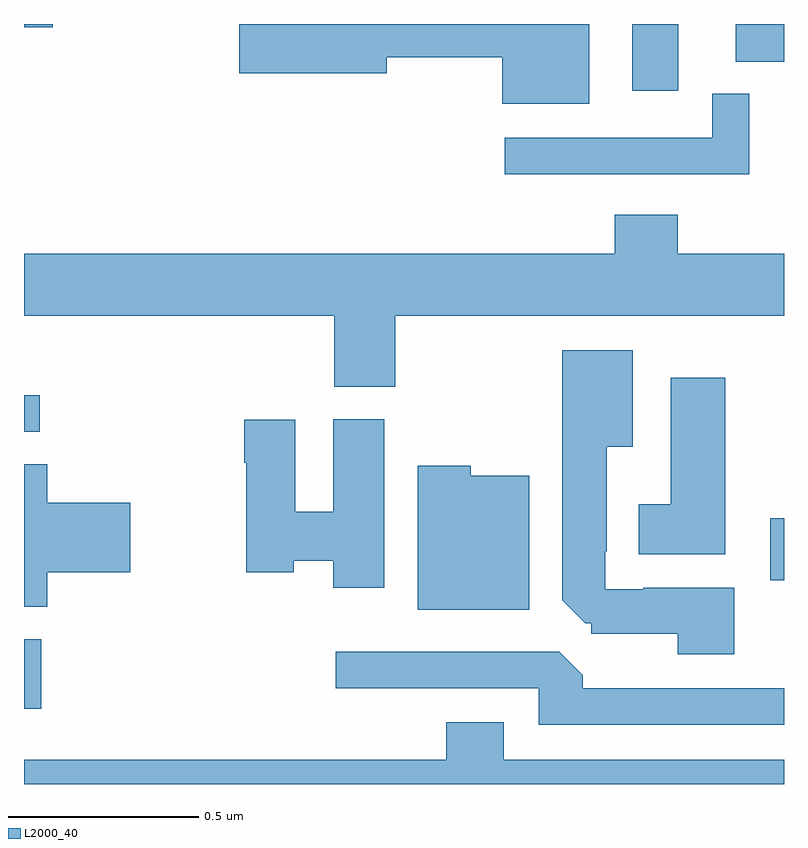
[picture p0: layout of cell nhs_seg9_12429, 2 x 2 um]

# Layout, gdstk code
import gdstk
lib = gdstk.Library(unit=1e-6, precision=1e-09)
def R(c, l, rs):  # rectangles x0, y0, x1, y1
    for r in rs: c.add(gdstk.rectangle(r[:2], r[2:], *l))
def P(c, l, *ps):  # polygons
    for p in ps: c.add(gdstk.Polygon(p, *l))
L2000_40 = (2000, 40)

nhs_seg9_12429 = lib.new_cell('nhs_seg9_12429')
R(nhs_seg9_12429, L2000_40, [(268,1216.698,268.046,1216.881), (269.964,1217.036,270,1217.199), (268,1217.427,268.042,1217.523), (269.6,1218.324,269.722,1218.5), (269.873,1218.401,270,1218.5), (268,1218.491,268.075,1218.5)])
P(nhs_seg9_12429, L2000_40, [(269.488,1218.5),(268.566,1218.5),(268.566,1218.37),(268.954,1218.37),(268.954,1218.412),(269.258,1218.412),(269.258,1218.29),(269.488,1218.29)],
  [(269.908,1218.316),(269.811,1218.316),(269.811,1218.201),(269.265,1218.201),(269.265,1218.105),(269.908,1218.105)],
  [(269.555,1217.998),(269.555,1217.896),(268,1217.896),(268,1217.732),(268.817,1217.732),(268.817,1217.545),(268.977,1217.545),(268.977,1217.732),(270,1217.732),(270,1217.896),(269.72,1217.896),(269.72,1217.998)],
  [(269.869,1217.017),(269.629,1217.017),(269.629,1217.013),(269.529,1217.013),(269.529,1217.113),(269.533,1217.113),(269.533,1217.387),(269.602,1217.387),(269.602,1217.641),(269.417,1217.641),(269.417,1216.983),(269.477,1216.923),(269.493,1216.923),(269.493,1216.896),(269.72,1216.896),(269.72,1216.841),(269.869,1216.841)],
  [(269.845,1217.569),(269.702,1217.569),(269.702,1217.236),(269.618,1217.236),(269.618,1217.105),(269.845,1217.105)],
  [(268.948,1217.46),(268.814,1217.46),(268.814,1217.217),(268.714,1217.217),(268.714,1217.458),(268.58,1217.458),(268.58,1217.345),(268.585,1217.345),(268.585,1217.057),(268.71,1217.057),(268.71,1217.087),(268.814,1217.087),(268.814,1217.016),(268.948,1217.016)],
  [(268.061,1217.057),(268.279,1217.057),(268.279,1217.24),(268.061,1217.24),(268.061,1217.342),(268,1217.342),(268,1216.966),(268.061,1216.966)],
  [(269.329,1217.311),(269.175,1217.311),(269.175,1217.338),(269.036,1217.338),(269.036,1216.958),(269.329,1216.958)],
  [(270,1216.752),(269.471,1216.752),(269.471,1216.786),(269.409,1216.848),(268.821,1216.848),(268.821,1216.752),(269.355,1216.752),(269.355,1216.656),(270,1216.656)],
  [(270,1216.564),(269.263,1216.564),(269.263,1216.663),(269.111,1216.663),(269.111,1216.564),(268,1216.564),(268,1216.5),(270,1216.5)])

lib.write_gds('nhs_seg9_12429.gds')
